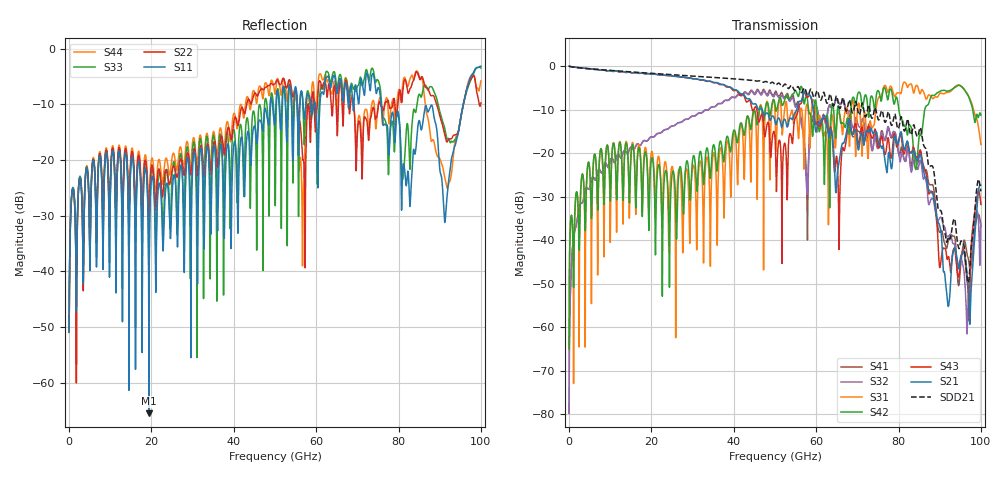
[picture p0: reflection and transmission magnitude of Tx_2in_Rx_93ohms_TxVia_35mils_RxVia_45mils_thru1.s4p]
! Info: Touchstone file created by Circ.  Input file=Tx_2in_Rx_93ohms_TxVia_35mils_RxVia_45mils.circ
# Hz S RI R 50
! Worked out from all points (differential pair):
!   10000 points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, 10 MHz to 100 GHz, reference 50 ohm
!   strongest paths, dB at 10 MHz, 25.01 GHz, 50.01 GHz, 75.01 GHz, 100 GHz:
!     S21: 0.0, -2.3, -12.7, -17.0, -27.4
!     S43: 0.0, -2.3, -16.6, -18.6, -31.8
!     S42: -65.0, -25.0, -8.9, -5.6, -11.3
!     S31: -65.0, -23.1, -10.9, -7.6, -18.0
!     S32: -79.8, -13.8, -6.6, -19.0, -36.0
!     S41: -79.8, -13.8, -6.0, -18.0, -36.7
!   taken as a pair (ports 1,3 in; 2,4 out), SDD21 dB: 0.0, -2.0, -4.2, -12.2, -28.8
!   lowest |S11| = -65.5 dB at 19.38 GHz (marker M1), VSWR 1.00, Z = 50 + j0.0523 ohm
!   |S11| at or under -10 dB: start of sweep to 48.83 GHz; 59.77 GHz to 60.92 GHz (1.141 GHz wide, 1.89 % of centre); 75.8 GHz to 95.74 GHz (19.94 GHz wide, 23.3 % of centre)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
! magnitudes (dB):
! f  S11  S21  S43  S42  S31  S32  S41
! 10 MHz  -50.8  0.0  0.0  -65.0  -65.0  -79.8  -79.8
! 2.66 GHz  -23.1  -0.4  -0.4  -33.1  -33.5  -31.8  -31.8
! 19.38 GHz  -65.5  -1.7  -1.8  -37.6  -32.9  -16.7  -16.7
! 62.69 GHz  -5.1  -13.1  -14.0  -11.3  -18.6  -11.3  -10.9
! 80.57 GHz  -20.9  -15.1  -15.7  -12.0  -6.3  -21.0  -18.9
! 92.05 GHz  -24.4  -55.2  -43.9  -5.7  -6.0  -39.0  -40.4
! 100 GHz  -3.2  -27.4  -31.8  -11.3  -18.0  -36.0  -36.7
